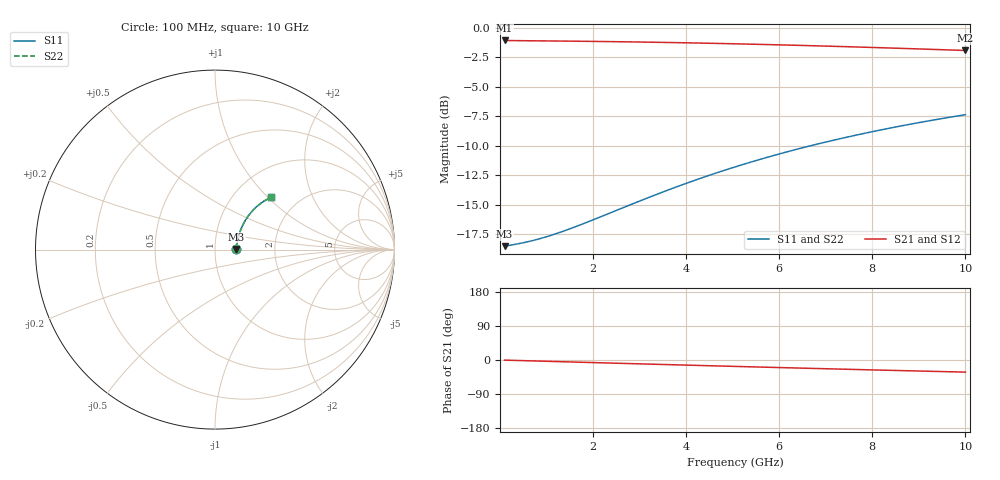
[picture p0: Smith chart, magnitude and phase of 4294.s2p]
# Hz S RI R 50.00
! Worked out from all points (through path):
!   100 points, 100 MHz to 10 GHz, reference 50 ohm
!   highest |S21| = -1.10 dB at 100 MHz (marker M1); lowest = -1.9 dB at 10 GHz (marker M2)
!   group delay of S21, straight-line fit = 8.91 ps
!   lowest |S11| = -18.5 dB at 100 MHz (marker M3), VSWR 1.27, Z = 63.5 + j0.51 ohm
!   |S11| at or under -10 dB: start of sweep to 6.687 GHz
!   |S22| runs from -18.5 to -7.4 dB; largest |S21 - S12| = 0
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1e8  0.1186 0.00396  0.8814 -0.00526  0.8814 -0.00526  0.1186 0.00396
5e8  0.1211 0.0197  0.8789 -0.0262  0.8789 -0.0262  0.1211 0.0197
7e8  0.1222 0.0275  0.8777 -0.0366  0.8777 -0.0366  0.1222 0.0275
9e8  0.1234 0.0353  0.8765 -0.047  0.8765 -0.047  0.1234 0.0353
1.1e9  0.1247 0.043  0.8751 -0.0574  0.8751 -0.0574  0.1247 0.043
1.3e9  0.1262 0.0507  0.8736 -0.0677  0.8736 -0.0677  0.1262 0.0507
1.8e9  0.1305 0.0697  0.8692 -0.0932  0.8692 -0.0932  0.1305 0.0697
2.6e9  0.1394 0.0994  0.86 -0.1334  0.86 -0.1334  0.1394 0.0994
3.4e9  0.1507 0.1279  0.8482 -0.1724  0.8482 -0.1724  0.1507 0.1279
3.9e9  0.159 0.145  0.8396 -0.196  0.8396 -0.196  0.159 0.145
4.3e9  0.1663 0.1582  0.832 -0.2145  0.832 -0.2145  0.1663 0.1582
4.7e9  0.1741 0.171  0.8238 -0.2325  0.8238 -0.2325  0.1741 0.171
5.1e9  0.1825 0.1833  0.8151 -0.2501  0.8151 -0.2501  0.1825 0.1833
5.5e9  0.1913 0.1952  0.8059 -0.2672  0.8059 -0.2672  0.1913 0.1952
5.9e9  0.2005 0.2065  0.7963 -0.2838  0.7963 -0.2838  0.2005 0.2065
6.3e9  0.2102 0.2174  0.7862 -0.2999  0.7862 -0.2999  0.2102 0.2174
6.7e9  0.2202 0.2276  0.7757 -0.3155  0.7757 -0.3155  0.2202 0.2276
7.5e9  0.2412 0.2466  0.7536 -0.345  0.7536 -0.345  0.2412 0.2466
7.9e9  0.2522 0.2552  0.7421 -0.359  0.7421 -0.359  0.2522 0.2552
8.4e9  0.2662 0.2652  0.7273 -0.3756  0.7273 -0.3756  0.2662 0.2652
9.2e9  0.2892 0.2794  0.703 -0.4005  0.703 -0.4005  0.2892 0.2794
1e10  0.3127 0.2914  0.678 -0.4232  0.678 -0.4232  0.3127 0.2914
